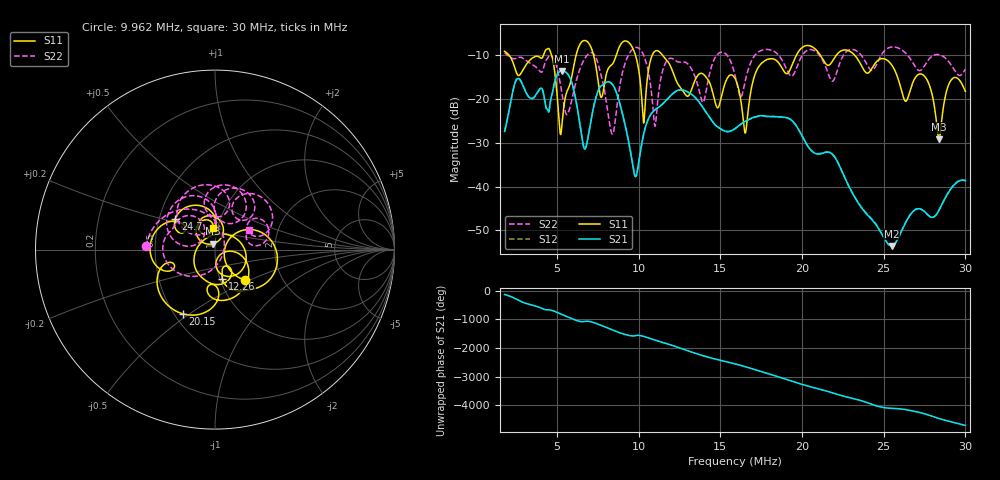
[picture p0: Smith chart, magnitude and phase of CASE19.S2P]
!Agilent Technologies,E5061B,MY49101568,A.02.00
!Date: Wed Mar 01 15:52:31 2023
!Data & Calibration Information:
!Freq	S11:SOLT2(OFF)	S21:SOLT2(OFF)	S12:SOLT2(OFF)	S22:SOLT2(OFF)
# Hz S dB R 50
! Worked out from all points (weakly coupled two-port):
!   1155 points, 1.8 MHz to 30 MHz, reference 50 ohm
!   highest |S21| = -13.62 dB at 5.294 MHz (marker M1); lowest = -53.6 dB at 25.5 MHz (marker M2)
!   lowest |S11| = -29.3 dB at 28.39 MHz (marker M3), VSWR 1.07, Z = 48.9 + j3.23 ohm
!   |S11| at or under -10 dB: 2.065 MHz to 4.184 MHz (2.119 MHz wide, 67.8 % of centre); 11.46 MHz to 19.66 MHz (8.206 MHz wide, 52.7 % of centre); 23.21 MHz to end of sweep (the widest 3 of 7)
!   |S22| runs from -28.0 to -8.1 dB; largest |S21 - S12| = 0.0026
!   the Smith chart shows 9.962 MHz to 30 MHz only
!   S11 on the Smith chart (normalised r, x): 9.962 MHz: 1.31, -0.47; 12.26 MHz: 1.03, -0.35; 20.15 MHz: 0.55, -0.47; 24.7 MHz: 0.61, +0.22; 30 MHz: 0.95, +0.23
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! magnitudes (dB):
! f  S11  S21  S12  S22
! 1.8 MHz  -9.1  -27.4  -27.4  -9.4
! 2.606 MHz  -14.6  -15.3  -15.2  -10.6
! 4.537 MHz  -8.6  -22.4  -22.4  -10.1
! 5.294 MHz  -26.5  -13.6  -13.6  -18.3
! 6.516 MHz  -7.0  -28.5  -28.4  -12.2
! 7.714 MHz  -19.6  -17.0  -17.0  -14.7
! 8.398 MHz  -12.1  -16.7  -16.7  -28.0
! 9.962 MHz  -12.4  -35.5  -35.8  -8.3
! 10.33 MHz  -25.3  -27.7  -27.8  -10.2
! 11.21 MHz  -9.1  -22.0  -21.9  -19.2
! 12.26 MHz  -15.4  -18.3  -18.4  -11.2
! 15.9 MHz  -15.3  -26.8  -26.8  -14.6
! 16.54 MHz  -27.8  -25.1  -25.1  -15.8
! 17.39 MHz  -12.4  -23.9  -24.0  -9.1
! 20.15 MHz  -8.0  -29.5  -29.5  -9.4
! 20.62 MHz  -8.1  -32.0  -31.9  -8.8
! 24.7 MHz  -11.1  -49.6  -49.5  -11.1
! 25.31 MHz  -11.5  -53.2  -53.3  -8.3
! 25.5 MHz  -12.3  -53.6  -53.5  -8.1
! 27.58 MHz  -15.2  -46.0  -46.0  -11.9
! 28.39 MHz  -29.3  -45.4  -45.3  -9.9
! 30 MHz  -18.3  -38.7  -38.6  -13.2
